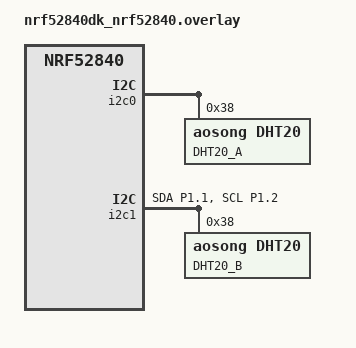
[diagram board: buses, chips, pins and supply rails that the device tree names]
/ {
    /* 1. Give them friendly names for your C code */
    aliases {
        sensor-a = &dht20_a;
        sensor-b = &dht20_b;
    };

    chosen {
        zephyr,entropy = &rng;
    };
};
/* --- BUS 1 (Existing) --- */
&i2c0 {
    status = "okay";
    dht20_a: dht20@38 {
        compatible = "aosong,dht20";
        reg = <0x38>;
        label = "DHT20_A";
    };
};

/* --- BUS 2 (New) --- */
&pinctrl {
    /* Define which pins i2c1 will use (P1.01 and P1.02) */
    i2c1_default: i2c1_default {
        group1 {
            psels = <NRF_PSEL(TWIM_SDA, 1, 1)>,
                    <NRF_PSEL(TWIM_SCL, 1, 2)>;
        };
    };

    i2c1_sleep: i2c1_sleep {
        group1 {
            psels = <NRF_PSEL(TWIM_SDA, 1, 1)>,
                    <NRF_PSEL(TWIM_SCL, 1, 2)>;
            low-power-enable;
        };
    };
};

&i2c1 {
    status = "okay";
    /* Link the pins we defined above to this bus */
    pinctrl-0 = <&i2c1_default>;
    pinctrl-1 = <&i2c1_sleep>;
    pinctrl-names = "default", "sleep";

    dht20_b: dht20@38 {
        compatible = "aosong,dht20";
        reg = <0x38>; 
        label = "DHT20_B";
    };
};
